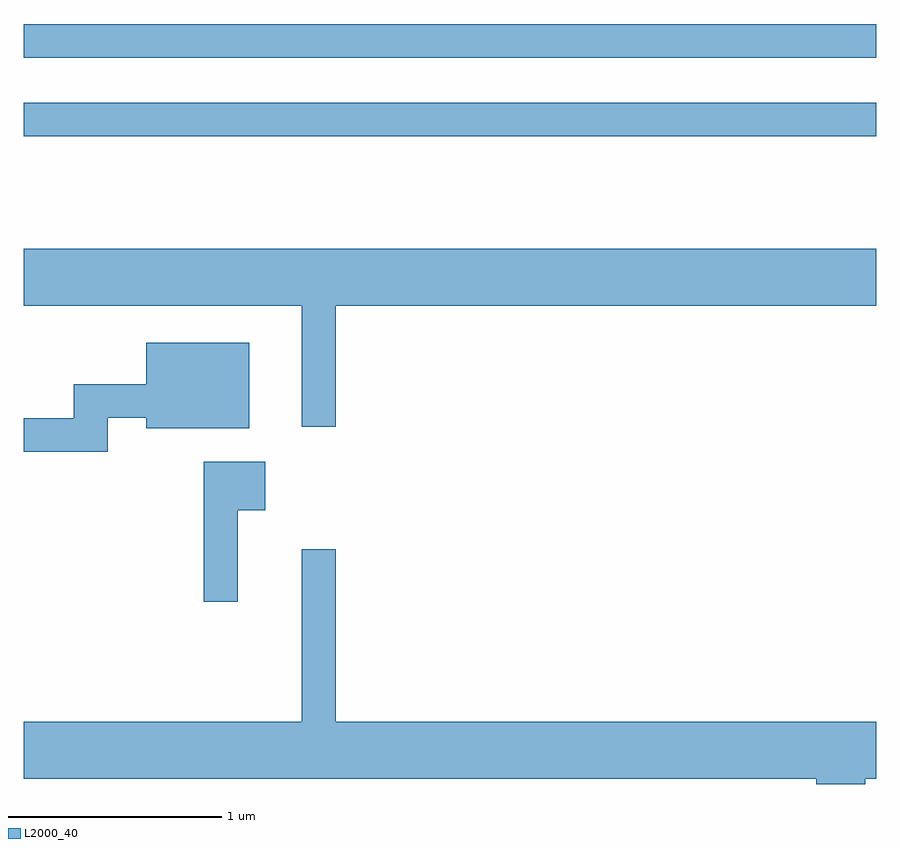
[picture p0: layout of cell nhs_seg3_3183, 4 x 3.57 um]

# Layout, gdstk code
import gdstk
lib = gdstk.Library(unit=1e-6, precision=1e-09)
def R(c, l, rs):  # rectangles x0, y0, x1, y1
    for r in rs: c.add(gdstk.rectangle(r[:2], r[2:], *l))
def P(c, l, *ps):  # polygons
    for p in ps: c.add(gdstk.Polygon(p, *l))
L2000_40 = (2000, 40)

nhs_seg3_3183 = lib.new_cell('nhs_seg3_3183')
R(nhs_seg3_3183, L2000_40, [(277.611,1228.931,281.611,1229.089), (277.611,1229.301,281.611,1229.459)])
P(nhs_seg3_3183, L2000_40, [(279.074,1228.136),(281.611,1228.136),(281.611,1228.404),(277.611,1228.404),(277.611,1228.136),(278.916,1228.136),(278.916,1227.568),(279.074,1227.568)],
  [(278.004,1227.611),(278.186,1227.611),(278.186,1227.561),(278.669,1227.561),(278.669,1227.964),(278.186,1227.964),(278.186,1227.769),(277.846,1227.769),(277.846,1227.609),(277.611,1227.609),(277.611,1227.451),(278.004,1227.451)],
  [(278.614,1227.176),(278.744,1227.176),(278.744,1227.404),(278.456,1227.404),(278.456,1226.748),(278.614,1226.748)],
  [(281.559,1225.916),(281.611,1225.916),(281.611,1226.184),(279.074,1226.184),(279.074,1226.993),(278.916,1226.993),(278.916,1226.184),(277.611,1226.184),(277.611,1225.916),(281.331,1225.916),(281.331,1225.892),(281.559,1225.892)])

lib.write_gds('nhs_seg3_3183.gds')
